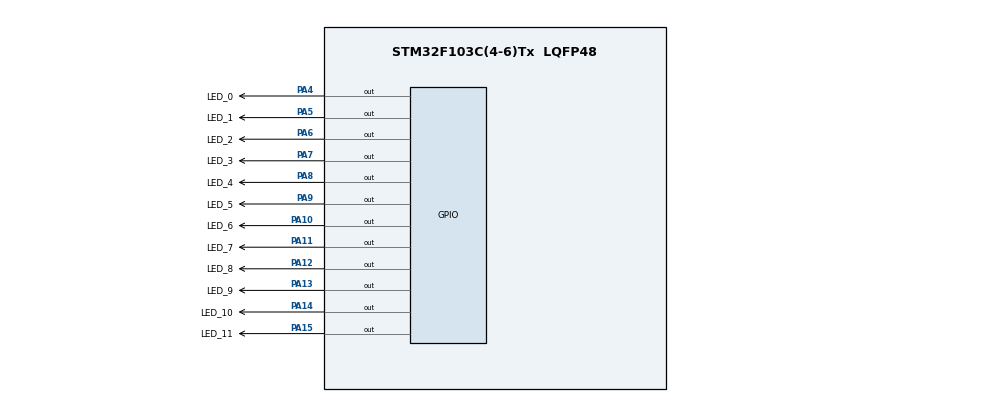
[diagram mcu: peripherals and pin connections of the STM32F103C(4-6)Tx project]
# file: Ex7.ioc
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Mcu.Family=STM32F1
Mcu.Name=STM32F103C(4-6)Tx
Mcu.Package=LQFP48
NVIC.PriorityGroup=NVIC_PRIORITYGROUP_4
PA10.GPIO_Label=LED_6
PA10.Signal=GPIO_Output
PA11.GPIO_Label=LED_7
PA11.Signal=GPIO_Output
PA12.GPIO_Label=LED_8
PA12.Signal=GPIO_Output
PA13.GPIO_Label=LED_9
PA13.Signal=GPIO_Output
PA14.GPIO_Label=LED_10
PA14.Signal=GPIO_Output
PA15.GPIO_Label=LED_11
PA15.Signal=GPIO_Output
PA4.GPIO_Label=LED_0
PA4.Signal=GPIO_Output
PA5.GPIO_Label=LED_1
PA5.Signal=GPIO_Output
PA6.GPIO_Label=LED_2
PA6.Signal=GPIO_Output
PA7.GPIO_Label=LED_3
PA7.Signal=GPIO_Output
PA8.GPIO_Label=LED_4
PA8.Signal=GPIO_Output
PA9.GPIO_Label=LED_5
PA9.Signal=GPIO_Output
ProjectManager.HeapSize=0x200
ProjectManager.StackSize=0x400
ProjectManager.TargetToolchain=STM32CubeIDE
RCC.APB1Freq_Value=8000000
RCC.APB2Freq_Value=8000000
VP_SYS_VS_ND.Mode=No_Debug
board=custom

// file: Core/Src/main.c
/* USER CODE BEGIN Header */
/**
  ******************************************************************************
  * @file           : main.c
  * @brief          : Main program body
  ******************************************************************************
  * @attention
  *
  * <h2><center>&copy; Copyright (c) 2023 STMicroelectronics.
  * All rights reserved.</center></h2>
  *
  * This software component is licensed by ST under BSD 3-Clause license,
  * the "License"; You may not use this file except in compliance with the
  * License. You may obtain a copy of the License at:
  *                        opensource.org/licenses/BSD-3-Clause
  *
  ******************************************************************************
  */
/* USER CODE END Header */
#include "main.h"

void SystemClock_Config(void);
static void MX_GPIO_Init(void);

void clearAllClock() {
	  HAL_GPIO_WritePin(LED_0_GPIO_Port, LED_0_Pin, RESET);
	  HAL_GPIO_WritePin(LED_1_GPIO_Port, LED_1_Pin, RESET);
	  HAL_GPIO_WritePin(LED_2_GPIO_Port, LED_2_Pin, RESET);
	  HAL_GPIO_WritePin(LED_3_GPIO_Port, LED_3_Pin, RESET);
	  HAL_GPIO_WritePin(LED_4_GPIO_Port, LED_4_Pin, RESET);
	  HAL_GPIO_WritePin(LED_5_GPIO_Port, LED_5_Pin, RESET);
	  HAL_GPIO_WritePin(LED_6_GPIO_Port, LED_6_Pin, RESET);
	  HAL_GPIO_WritePin(LED_7_GPIO_Port, LED_7_Pin, RESET);
	  HAL_GPIO_WritePin(LED_8_GPIO_Port, LED_8_Pin, RESET);
	  HAL_GPIO_WritePin(LED_9_GPIO_Port, LED_9_Pin, RESET);
	  HAL_GPIO_WritePin(LED_10_GPIO_Port, LED_10_Pin, RESET);
	  HAL_GPIO_WritePin(LED_11_GPIO_Port, LED_11_Pin, RESET);
}

void setNumberOnClock(int num) {
	switch(num) {
		case 0:
			HAL_GPIO_WritePin(LED_0_GPIO_Port, LED_0_Pin, SET);
			break;
		case 1:
			HAL_GPIO_WritePin(LED_1_GPIO_Port, LED_1_Pin, SET);
			break;
		case 2:
			HAL_GPIO_WritePin(LED_2_GPIO_Port, LED_2_Pin, SET);
			break;
		case 3:
			HAL_GPIO_WritePin(LED_3_GPIO_Port, LED_3_Pin, SET);
			break;
		case 4:
			HAL_GPIO_WritePin(LED_4_GPIO_Port, LED_4_Pin, SET);
			break;
		case 5:
			HAL_GPIO_WritePin(LED_5_GPIO_Port, LED_5_Pin, SET);
			break;
		case 6:
			HAL_GPIO_WritePin(LED_6_GPIO_Port, LED_6_Pin, SET);
			break;
		case 7:
			HAL_GPIO_WritePin(LED_7_GPIO_Port, LED_7_Pin, SET);
			break;
		case 8:
			HAL_GPIO_WritePin(LED_8_GPIO_Port, LED_8_Pin, SET);
			break;
		case 9:
			HAL_GPIO_WritePin(LED_9_GPIO_Port, LED_9_Pin, SET);
			break;
		case 10:
			HAL_GPIO_WritePin(LED_10_GPIO_Port, LED_10_Pin, SET);
			break;
		case 11:
			HAL_GPIO_WritePin(LED_11_GPIO_Port, LED_11_Pin, SET);
			break;
	}
}

void clearNumberOnClock(int num) {
	switch(num) {
			case 0:
				HAL_GPIO_WritePin(LED_0_GPIO_Port, LED_0_Pin, RESET);
				break;
			case 1:
				HAL_GPIO_WritePin(LED_1_GPIO_Port, LED_1_Pin, RESET);
				break;
			case 2:
				HAL_GPIO_WritePin(LED_2_GPIO_Port, LED_2_Pin, RESET);
				break;
			case 3:
				HAL_GPIO_WritePin(LED_3_GPIO_Port, LED_3_Pin, RESET);
				break;
			case 4:
				HAL_GPIO_WritePin(LED_4_GPIO_Port, LED_4_Pin, RESET);
				break;
			case 5:
				HAL_GPIO_WritePin(LED_5_GPIO_Port, LED_5_Pin, RESET);
				break;
			case 6:
				HAL_GPIO_WritePin(LED_6_GPIO_Port, LED_6_Pin, RESET);
				break;
			case 7:
				HAL_GPIO_WritePin(LED_7_GPIO_Port, LED_7_Pin, RESET);
				break;
			case 8:
				HAL_GPIO_WritePin(LED_8_GPIO_Port, LED_8_Pin, RESET);
				break;
			case 9:
				HAL_GPIO_WritePin(LED_9_GPIO_Port, LED_9_Pin, RESET);
				break;
			case 10:
				HAL_GPIO_WritePin(LED_10_GPIO_Port, LED_10_Pin, RESET);
				break;
			case 11:
				HAL_GPIO_WritePin(LED_11_GPIO_Port, LED_11_Pin, RESET);
				break;
		}
}

int main(void)
{

  /* MCU Configuration--------------------------------------------------------*/

  /* Reset of all peripherals, Initializes the Flash interface and the Systick. */
  HAL_Init();

  /* Configure the system clock */
  SystemClock_Config();

  /* Initialize all configured peripherals */
  MX_GPIO_Init();
  /* USER CODE BEGIN 2 */
  int hour = 0;
  int minute = 0;
  int sec = 0;
  int counter0 = 0;
  int counter1 = 0;
  HAL_GPIO_WritePin(LED_0_GPIO_Port, LED_0_Pin, RESET);
  HAL_GPIO_WritePin(LED_1_GPIO_Port, LED_1_Pin, RESET);
  HAL_GPIO_WritePin(LED_2_GPIO_Port, LED_2_Pin, RESET);
  HAL_GPIO_WritePin(LED_3_GPIO_Port, LED_3_Pin, RESET);
  HAL_GPIO_WritePin(LED_4_GPIO_Port, LED_4_Pin, RESET);
  HAL_GPIO_WritePin(LED_5_GPIO_Port, LED_5_Pin, RESET);
  HAL_GPIO_WritePin(LED_6_GPIO_Port, LED_6_Pin, RESET);
  HAL_GPIO_WritePin(LED_7_GPIO_Port, LED_7_Pin, RESET);
  HAL_GPIO_WritePin(LED_8_GPIO_Port, LED_8_Pin, RESET);
  HAL_GPIO_WritePin(LED_9_GPIO_Port, LED_9_Pin, RESET);
  HAL_GPIO_WritePin(LED_10_GPIO_Port, LED_10_Pin, RESET);
  HAL_GPIO_WritePin(LED_11_GPIO_Port, LED_11_Pin, RESET);
  /* USER CODE END 2 */

  /* Infinite loop */
  while (1)
  {
	  if(sec != hour && sec != minute) {
		  clearNumberOnClock(sec);
	  }
	  counter0++;
	  if(counter0 > 5){
		  sec++;
		  counter0 = 1;
	  }
	  if(sec > 12){
		  sec = 0;
		  counter1++;
		  if(minute != sec && minute != hour){
			  clearNumberOnClock(minute);
		  }
		  if(counter1 > 5){
			  minute++;
		  	  counter1 = 1;
		  }
	  }
	  if(minute > 12) {
	  		  minute = 0;
	  		  if(hour != minute && hour != sec){
	  		  	  clearNumberOnClock(hour);
	  		  }
	  		  hour++;
	  	  }
	  	  if(hour > 12) {
	  		  hour = 0;
	  	  }
		  setNumberOnClock(sec);
		  setNumberOnClock(minute);
		  setNumberOnClock(hour);
	  HAL_Delay(1000);
  }
}

void SystemClock_Config(void)
{
  RCC_OscInitTypeDef RCC_OscInitStruct = {0};
  RCC_ClkInitTypeDef RCC_ClkInitStruct = {0};

  /** Initializes the RCC Oscillators according to the specified parameters
  * in the RCC_OscInitTypeDef structure.
  */
  RCC_OscInitStruct.OscillatorType = RCC_OSCILLATORTYPE_HSI;
  RCC_OscInitStruct.HSIState = RCC_HSI_ON;
  RCC_OscInitStruct.HSICalibrationValue = RCC_HSICALIBRATION_DEFAULT;
  RCC_OscInitStruct.PLL.PLLState = RCC_PLL_NONE;
  if (HAL_RCC_OscConfig(&RCC_OscInitStruct) != HAL_OK)
  {
    Error_Handler();
  }
  /** Initializes the CPU, AHB and APB buses clocks
  */
  RCC_ClkInitStruct.ClockType = RCC_CLOCKTYPE_HCLK|RCC_CLOCKTYPE_SYSCLK
                              |RCC_CLOCKTYPE_PCLK1|RCC_CLOCKTYPE_PCLK2;
  RCC_ClkInitStruct.SYSCLKSource = RCC_SYSCLKSOURCE_HSI;
  RCC_ClkInitStruct.AHBCLKDivider = RCC_SYSCLK_DIV1;
  RCC_ClkInitStruct.APB1CLKDivider = RCC_HCLK_DIV1;
  RCC_ClkInitStruct.APB2CLKDivider = RCC_HCLK_DIV1;

  if (HAL_RCC_ClockConfig(&RCC_ClkInitStruct, FLASH_LATENCY_0) != HAL_OK)
  {
    Error_Handler();
  }
}

static void MX_GPIO_Init(void)
{
  GPIO_InitTypeDef GPIO_InitStruct = {0};

  /* GPIO Ports Clock Enable */
  __HAL_RCC_GPIOA_CLK_ENABLE();

  /*Configure GPIO pin Output Level */
  HAL_GPIO_WritePin(GPIOA, LED_0_Pin|LED_1_Pin|LED_2_Pin|LED_3_Pin
                          |LED_4_Pin|LED_5_Pin|LED_6_Pin|LED_7_Pin
                          |LED_8_Pin|LED_9_Pin|LED_10_Pin|LED_11_Pin, GPIO_PIN_RESET);

  /*Configure GPIO pins : LED_0_Pin LED_1_Pin LED_2_Pin LED_3_Pin
                           LED_4_Pin LED_5_Pin LED_6_Pin LED_7_Pin
                           LED_8_Pin LED_9_Pin LED_10_Pin LED_11_Pin */
  GPIO_InitStruct.Pin = LED_0_Pin|LED_1_Pin|LED_2_Pin|LED_3_Pin
                          |LED_4_Pin|LED_5_Pin|LED_6_Pin|LED_7_Pin
                          |LED_8_Pin|LED_9_Pin|LED_10_Pin|LED_11_Pin;
  GPIO_InitStruct.Mode = GPIO_MODE_OUTPUT_PP;
  GPIO_InitStruct.Pull = GPIO_NOPULL;
  GPIO_InitStruct.Speed = GPIO_SPEED_FREQ_LOW;
  HAL_GPIO_Init(GPIOA, &GPIO_InitStruct);

}

void Error_Handler(void)
{
  __disable_irq();
  while (1)
  {
  }
}

/************************ (C) COPYRIGHT STMicroelectronics *****END OF FILE****/
